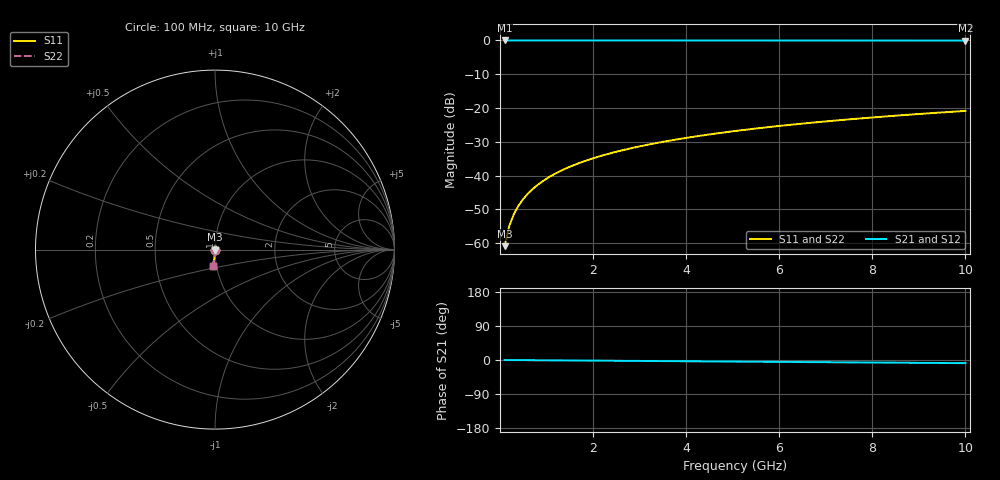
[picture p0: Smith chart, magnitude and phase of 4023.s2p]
# Hz S RI R 50.00
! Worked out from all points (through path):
!   100 points, 100 MHz to 10 GHz, reference 50 ohm
!   highest |S21| = 0.00 dB at 100 MHz (marker M1); lowest = 0.0 dB at 10 GHz (marker M2)
!   group delay of S21, straight-line fit = 2.31 ps
!   lowest |S11| = -60.9 dB at 100 MHz (marker M3), VSWR 1.00, Z = 50 - j0.0899 ohm
!   |S11| at or under -10 dB: start of sweep to end of sweep
!   |S22| runs from -60.9 to -20.9 dB; largest |S21 - S12| = 1e-14
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1e8  7.64e-05 -0.000899  0.9999 -0.00144  0.9999 -0.00144  7.64e-05 -0.000899
2e8  7.19e-05 -0.0018  0.9999 -0.00287  0.9999 -0.00287  7.19e-05 -0.0018
3e8  6.47e-05 -0.0027  0.9999 -0.00431  0.9999 -0.00431  6.47e-05 -0.0027
4e8  5.49e-05 -0.0036  0.9999 -0.00574  0.9999 -0.00574  5.49e-05 -0.0036
5e8  4.24e-05 -0.00449  0.9999 -0.00718  0.9999 -0.00718  4.24e-05 -0.00449
6e8  2.74e-05 -0.00539  0.9999 -0.00861  0.9999 -0.00861  2.74e-05 -0.00539
7e8  9.68e-06 -0.00629  0.9998 -0.0101  0.9998 -0.0101  9.68e-06 -0.00629
8e8  -1.06e-05 -0.00719  0.9998 -0.0115  0.9998 -0.0115  -1.06e-05 -0.00719
9e8  -3.35e-05 -0.00809  0.9998 -0.0129  0.9998 -0.0129  -3.35e-05 -0.00809
1.1e9  -8.71e-05 -0.00989  0.9997 -0.0158  0.9997 -0.0158  -8.71e-05 -0.00989
1.4e9  -0.000187 -0.0126  0.9996 -0.0201  0.9996 -0.0201  -0.000187 -0.0126
1.8e9  -0.000357 -0.0162  0.9994 -0.0259  0.9994 -0.0259  -0.000357 -0.0162
2.1e9  -0.000511 -0.0189  0.9993 -0.0302  0.9993 -0.0302  -0.000511 -0.0189
2.5e9  -0.000754 -0.0225  0.999 -0.0359  0.999 -0.0359  -0.000754 -0.0225
2.9e9  -0.00104 -0.0261  0.9987 -0.0417  0.9987 -0.0417  -0.00104 -0.0261
3.4e9  -0.00145 -0.0306  0.9982 -0.0489  0.9982 -0.0489  -0.00145 -0.0306
4.2e9  -0.00226 -0.0378  0.9973 -0.0605  0.9973 -0.0605  -0.00226 -0.0378
5.1e9  -0.00336 -0.046  0.9961 -0.0735  0.9961 -0.0735  -0.00336 -0.046
5.9e9  -0.00452 -0.0532  0.9948 -0.085  0.9948 -0.085  -0.00452 -0.0532
6.7e9  -0.00585 -0.0603  0.9933 -0.0966  0.9933 -0.0966  -0.00585 -0.0603
8.4e9  -0.00924 -0.0755  0.9895 -0.1211  0.9895 -0.1211  -0.00924 -0.0755
1e10  -0.0131 -0.0896  0.9852 -0.1441  0.9852 -0.1441  -0.0131 -0.0896
